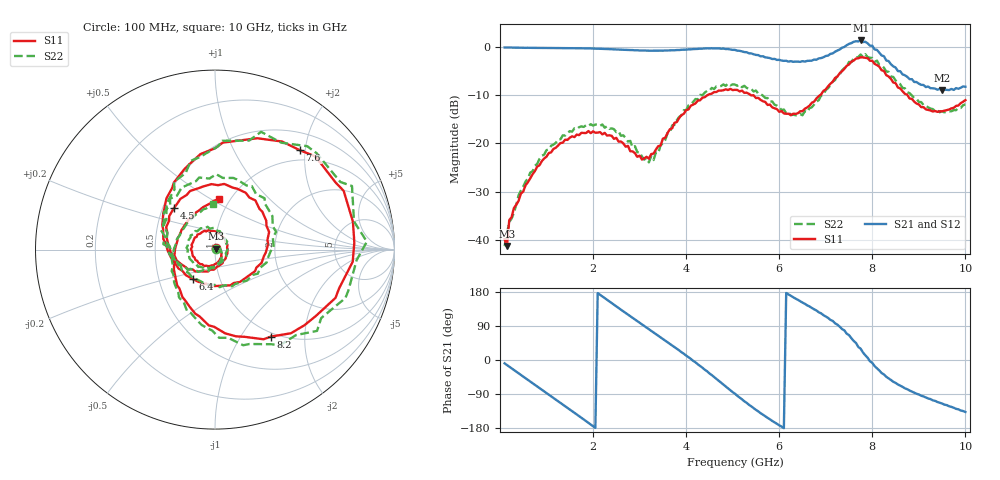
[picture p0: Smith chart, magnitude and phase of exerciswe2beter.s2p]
!Keysight Technologies,P9373A,MY57211790,A.19.30.04
!Date: Friday, April 24, 2026 15:30:06
!Correction: S11(C  2-Port  )
!S21(C  2-Port  )
!S12(C  2-Port  )
!S22(C  2-Port  )
!S2P File: Measurements: S11, S21, S12, S22:
# Hz S  dB  R 50
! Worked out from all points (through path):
!   199 points, 100 MHz to 10 GHz, reference 50 ohm
!   highest |S21| = 1.42 dB at 7.75 GHz (marker M1); lowest = -8.9 dB at 9.5 GHz (marker M2)
!   group delay of S21, straight-line fit = 248 ps
!   lowest |S11| = -41.3 dB at 150 MHz (marker M3), VSWR 1.02, Z = 50.7 + j0.447 ohm
!   |S11| at or under -10 dB: start of sweep to 4.451 GHz; 5.452 GHz to 6.872 GHz (1.419 GHz wide, 23 % of centre); 8.758 GHz to end of sweep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
!   |S22| runs from -41.4 to -1.4 dB; largest |S21 - S12| = 0.0091
!   S11 on the Smith chart (normalised r, x): 100 MHz: 1.01, +0.01; 4.5 GHz: 0.57, +0.29; 6.4 GHz: 0.74, -0.26; 7.6 GHz: 0.80, +1.90; 8.2 GHz: 0.94, -1.37; 10 GHz: 0.89, +0.54
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1e8  -39.94 45.4  -0.03 -8.8  -0.02 -9.0  -41.37 41.7
1.5e8  -41.35 31.0  -0.04 -13.3  -0.04 -13.3  -38.74 36.4
3e8  -33.44 16.1  -0.07 -26.4  -0.08 -26.4  -34.44 16.7
9.5e8  -23.13 -74.5  -0.14 -82.7  -0.12 -82.7  -22.32 -76.0
1.75e9  -17.80 -163.0  -0.19 -152.6  -0.18 -152.6  -16.45 -161.0
2.2e9  -18.11 145.5  -0.32 167.8  -0.31 167.6  -16.05 149.8
2.7e9  -20.68 81.2  -0.52 124.1  -0.51 124.0  -18.90 91.3
3.4e9  -20.57 -77.7  -0.70 64.1  -0.69 63.9  -22.02 -67.9
4e9  -13.07 -164.2  -0.48 11.7  -0.48 11.5  -13.07 -164.1
4.5e9  -9.75 135.0  -0.24 -35.3  -0.23 -35.6  -9.05 135.1
5.05e9  -8.85 70.1  -0.54 -89.0  -0.53 -89.3  -7.76 72.7
5.65e9  -11.22 -7.8  -1.86 -144.2  -1.86 -144.5  -10.07 -0.2
6.4e9  -13.72 -126.9  -2.97 158.9  -2.97 158.6  -14.23 -121.6
6.7e9  -11.55 -179.2  -2.77 137.4  -2.76 137.1  -12.48 -171.7
7.15e9  -7.16 121.5  -1.27 103.1  -1.27 102.8  -7.11 121.2
7.6e9  -2.76 49.5  1.15 50.3  1.16 49.9  -2.25 48.3
7.75e9  -2.07 24.5  1.42 29.8  1.42 29.4  -1.50 24.9
8.2e9  -4.79 -57.3  -1.69 -34.5  -1.68 -34.9  -3.82 -55.8
8.35e9  -6.07 -76.5  -2.86 -48.5  -2.85 -48.9  -5.11 -73.5
8.8e9  -10.66 -132.6  -6.63 -80.4  -6.61 -81.0  -9.52 -126.8
9.5e9  -13.31 143.7  -8.95 -114.9  -8.94 -115.2  -13.33 150.6
1e10  -10.99 85.2  -8.20 -137.1  -8.20 -137.5  -11.88 92.1
